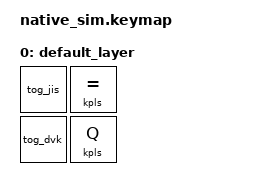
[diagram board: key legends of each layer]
#include <dt-bindings/zmk/keys.h>
#include <behaviors.dtsi>
#include <dt-bindings/zmk/kscan_mock.h>
#include <layout_shift.dtsi>

/ {
    behaviors {
        tog_jis: toggle_jis {
            compatible = "zmk,behavior-layout-shift-toggle";
            #binding-cells = <0>;
            toggle-mode = "flip";
            layout-maps = <&layout_shift_map_us_to_jis>;
        };
        tog_dvk: toggle_dvorak {
            compatible = "zmk,behavior-layout-shift-toggle";
            #binding-cells = <0>;
            toggle-mode = "flip";
            layout-maps = <&layout_shift_map_dvorak>;
        };
    };
};

&kscan {
    events = <
        ZMK_MOCK_PRESS(0,0,10)
        ZMK_MOCK_RELEASE(0,0,10)
        ZMK_MOCK_PRESS(0,1,10)
        ZMK_MOCK_RELEASE(0,1,10)
        ZMK_MOCK_PRESS(1,1,10)
        ZMK_MOCK_RELEASE(1,1,10)
        ZMK_MOCK_PRESS(1,0,10)
        ZMK_MOCK_RELEASE(1,0,10)
        ZMK_MOCK_PRESS(0,1,10)
        ZMK_MOCK_RELEASE(0,1,10)
        ZMK_MOCK_PRESS(1,1,10)
        ZMK_MOCK_RELEASE(1,1,10)
        ZMK_MOCK_PRESS(0,0,10)
        ZMK_MOCK_RELEASE(0,0,10)
        ZMK_MOCK_PRESS(0,1,10)
        ZMK_MOCK_RELEASE(0,1,10)
        ZMK_MOCK_PRESS(1,1,10)
        ZMK_MOCK_RELEASE(1,1,10)
    >;
};

/ {
    keymap {
        compatible = "zmk,keymap";

        default_layer {
            bindings = <
                &tog_jis &kpls EQUAL
                &tog_dvk &kpls Q
            >;
        };
    };
};
